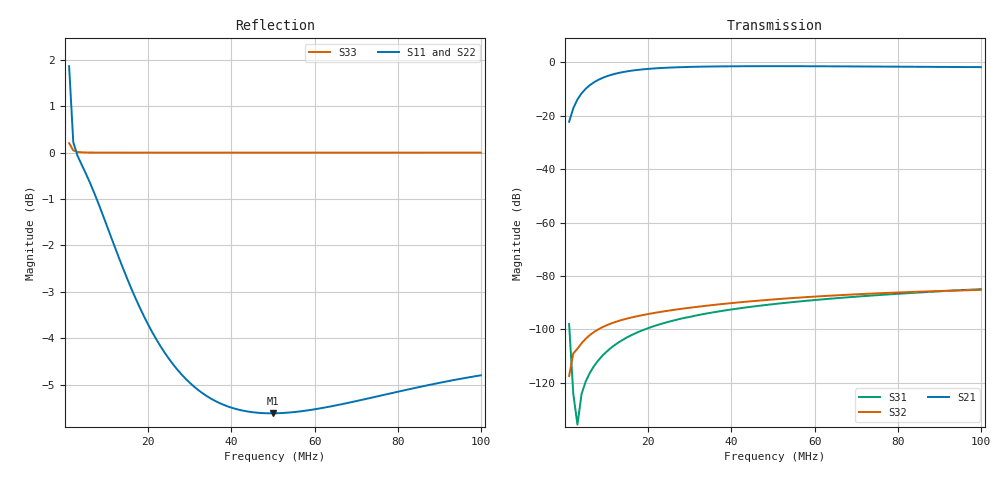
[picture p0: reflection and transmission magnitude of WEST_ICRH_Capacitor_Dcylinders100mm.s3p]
! Touchstone file exported from HFSS 2018.2.0
!  File:  E:/Julien/ICRH/WEST Antenna/Complete Numerical Antenna Model/WEST_ICRH_Capacitor.aedt
!  Generated:  5:40:25  janv. 09, 2019
!  Design:  WEST_ICRH_Voltage_Probes_depth_m5mm_optimetrics_silver_Part2
!  Project:  WEST_ICRH_Capacitor
!  Setup:  Setup1
!  Solution:  Sweep
! Variables:
!  D_cylinders = 100mm
!  D_cylinders_step = 110.908mm
!  d_half_wave = 3.33333333333333mm
!  d_mesh = 7mm
!  deemb1 = 150mm
!  deemb2 = 150mm
!  deemb3 = 100mm
!  depth = -5mm
!  diameter_bellows_fixed_center_1 = 76mm
!  diameter_bellows_fixed_center_2 = 72mm
!  diameter_bellows_fixed_left_1 = 76mm
!  diameter_bellows_fixed_left_2 = 71mm
!  diameter_big_wave = 74.925mm
!  diameter_cylinder_1 = 140mm
!  diameter_cylinder_2 = 110mm
!  diameter_cylinder_3 = 80mm
!  diameter_cylinder_4 = 50mm
!  diameter_cylinder_5 = 19.985mm
!  diameter_cylinders_fixed = 143mm
!  diameter_small_wave = 51mm
!  diametre_coax_external = 216mm
!  diametre_probe_cavity = 13mm
!  diametre_probe_external = 7mm
!  diametre_probe_head = 7mm
!  diametre_probe_internal = 3mm
!  length_bellows_fixed_center_1 = 4.1mm
!  length_bellows_fixed_center_2 = 6.042mm
!  length_bellows_fixed_left_1 = 4.1mm
!  length_bellows_fixed_left_2 = 13mm
!  length_cylinders = 45.5mm
!  length_cylinders_fixed = 7mm
!  length_probe = 114mm
!  length_probe_cavity = 23mm
!  length_probe_head = 9.5mm
!  parois_cavity_probe = 1mm
!  parois_probe = 1mm
!  thickness_cylinder_1 = 1.5mm
!  thickness_cylinder_2 = 1.5mm
!  thickness_cylinder_3 = 1.5mm
!  thickness_cylinder_4 = 1.5mm
!  top_probe = 14mm
!  y0_bellows1 = 223.3mm
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# GHZ S DB R 50.000000
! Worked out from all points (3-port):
!   100 points, 1 MHz to 100 MHz, reference 50 ohm
!   strongest paths, dB at 1 MHz, 26 MHz, 51 MHz, 76 MHz, 100 MHz:
!     S21: -22.2, -1.9, -1.4, -1.5, -1.8
!     S32: -117.4, -92.7, -88.6, -86.4, -85.2
!     S31: -98.0, -96.7, -90.4, -87.1, -84.9
!   lowest |S11| = -5.6 dB at 50 MHz (marker M1), VSWR 3.20, Z = 24 - j33.8 ohm
!   |S11| at or under -10 dB: nowhere
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0.001  1.86 -5.0  -22.22 85.1  -97.97 -165.7
       -22.22 85.1  -0.00 -4.9  -117.41 130.2
       -97.97 -165.7  -117.41 130.2  0.20 2.2
0.002  0.22 -9.7  -17.16 80.3  -124.04 -15.1
       -17.16 80.3  -0.08 -9.7  -108.97 88.0
       -124.04 -15.1  -108.97 88.0  0.05 0.4
0.005  -0.45 -23.4  -9.83 66.6  -119.41 156.4
       -9.83 66.6  -0.48 -23.4  -103.46 78.5
       -119.41 156.4  -103.46 78.5  0.00 -0.2
0.008  -1.09 -35.4  -6.53 54.5  -111.60 144.3
       -6.53 54.5  -1.09 -35.5  -99.96 73.2
       -111.60 144.3  -99.96 73.2  0.00 -0.4
0.012  -2.04 -48.7  -4.27 41.2  -105.79 131.0
       -4.27 41.2  -2.04 -48.8  -97.25 68.3
       -105.79 131.0  -97.25 68.3  0.00 -0.6
0.018  -3.34 -63.6  -2.70 26.4  -100.71 116.2
       -2.70 26.4  -3.34 -63.6  -94.82 64.3
       -100.71 116.2  -94.82 64.3  -0.00 -1.0
0.026  -4.57 -77.4  -1.87 12.6  -96.68 102.3
       -1.87 12.6  -4.57 -77.4  -92.70 62.1
       -96.68 102.3  -92.70 62.1  -0.00 -1.4
0.05  -5.62 -103.0  -1.39 -12.4  -90.53 77.1
      -1.39 -12.4  -5.62 -101.9  -88.77 58.2
      -90.53 77.1  -88.77 58.2  -0.00 -2.7
0.051  -5.62 -103.8  -1.40 -13.2  -90.36 76.2
       -1.40 -13.2  -5.62 -102.7  -88.65 58.0
       -90.36 76.2  -88.65 58.0  -0.00 -2.7
0.1  -4.80 -136.0  -1.75 -43.6  -84.89 45.4
     -1.75 -43.6  -4.80 -131.2  -85.18 50.5
     -84.89 45.4  -85.18 50.5  0.00 -5.4
